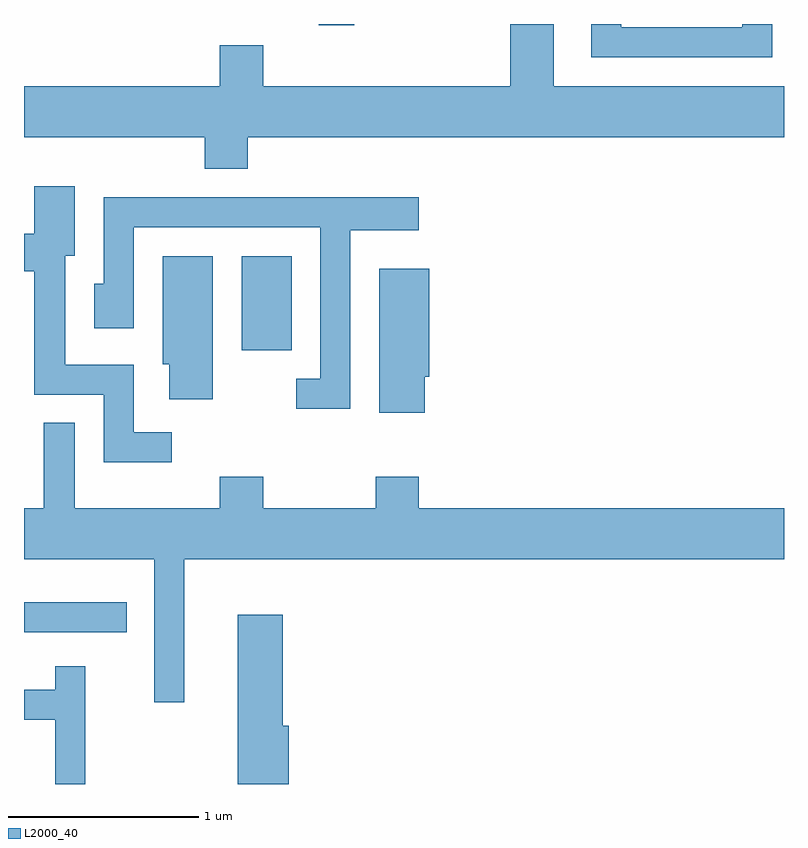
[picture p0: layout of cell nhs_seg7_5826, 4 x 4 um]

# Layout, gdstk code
import gdstk
lib = gdstk.Library(unit=1e-6, precision=1e-09)
def R(c, l, rs):  # rectangles x0, y0, x1, y1
    for r in rs: c.add(gdstk.rectangle(r[:2], r[2:], *l))
def P(c, l, *ps):  # polygons
    for p in ps: c.add(gdstk.Polygon(p, *l))
L2000_40 = (2000, 40)

nhs_seg7_5826 = lib.new_cell('nhs_seg7_5826')
R(nhs_seg7_5826, L2000_40, [(363.611,1705.051,364.153,1705.209), (364.756,1706.536,365.019,1707.029), (365.161,1708.246,365.349,1708.252)])
P(nhs_seg7_5826, L2000_40, [(364.789,1707.656),(367.611,1707.656),(367.611,1707.924),(366.399,1707.924),(366.399,1708.252),(366.171,1708.252),(366.171,1707.924),(364.869,1707.924),(364.869,1708.139),(364.641,1708.139),(364.641,1707.924),(363.611,1707.924),(363.611,1707.656),(364.561,1707.656),(364.561,1707.491),(364.789,1707.491)],
  [(367.549,1708.252),(367.391,1708.252),(367.391,1708.234),(366.754,1708.234),(366.754,1708.252),(366.596,1708.252),(366.596,1708.076),(367.549,1708.076)],
  [(364.388,1706.104),(364.189,1706.104),(364.189,1706.459),(363.829,1706.459),(363.829,1707.031),(363.879,1707.031),(363.879,1707.399),(363.666,1707.399),(363.666,1707.149),(363.611,1707.149),(363.611,1706.951),(363.666,1706.951),(363.666,1706.301),(364.031,1706.301),(364.031,1705.946),(364.388,1705.946)],
  [(365.329,1707.166),(365.689,1707.166),(365.689,1707.339),(364.031,1707.339),(364.031,1706.884),(363.981,1706.884),(363.981,1706.651),(364.189,1706.651),(364.189,1707.181),(365.171,1707.181),(365.171,1706.384),(365.043,1706.384),(365.043,1706.226),(365.329,1706.226)],
  [(364.604,1707.029),(364.341,1707.029),(364.341,1706.461),(364.376,1706.461),(364.376,1706.276),(364.604,1706.276)],
  [(365.719,1706.396),(365.744,1706.396),(365.744,1706.964),(365.481,1706.964),(365.481,1706.206),(365.719,1706.206)],
  [(364.454,1705.436),(367.611,1705.436),(367.611,1705.704),(365.689,1705.704),(365.689,1705.869),(365.461,1705.869),(365.461,1705.704),(364.869,1705.704),(364.869,1705.869),(364.641,1705.869),(364.641,1705.704),(363.879,1705.704),(363.879,1706.153),(363.716,1706.153),(363.716,1705.704),(363.611,1705.704),(363.611,1705.436),(364.296,1705.436),(364.296,1704.683),(364.454,1704.683)],
  [(365.004,1704.559),(364.974,1704.559),(364.974,1705.144),(364.736,1705.144),(364.736,1704.252),(365.004,1704.252)],
  [(363.934,1704.873),(363.776,1704.873),(363.776,1704.749),(363.611,1704.749),(363.611,1704.591),(363.776,1704.591),(363.776,1704.252),(363.934,1704.252)])

lib.write_gds('nhs_seg7_5826.gds')
